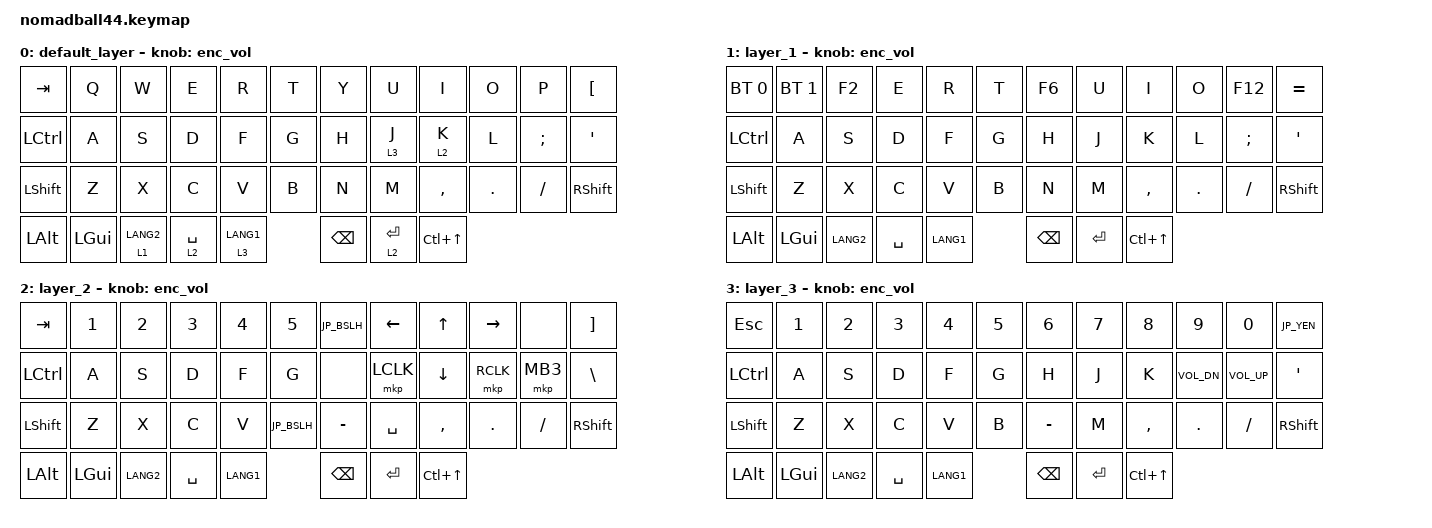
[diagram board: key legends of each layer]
// This file was generated from a template. Edit it to match your keyboard.
// See https://zmk.dev/docs/development/hardware-integration/new-shield for more instructions.

#define ZMK_POINTING_DEFAULT_SCRL_VAL 150

// OS設定を日本語キーボードのまま使用するための変換定義

#define JP_DQUOTE       AT                // "
#define JP_AMPERSAND    CARET             // &
#define JP_QUOTE        AMPERSAND         // '
#define JP_EQUAL        UNDER             // =
#define JP_CARET        EQUAL             // ^
#define JP_YEN          0x89              // ¥
#define JP_PLUS         COLON             // +
#define JP_TILDE        PLUS              // ~
#define JP_PIPE         LS(0x89)          // |
#define JP_AT           LEFT_BRACKET      // @
#define JP_COLON        SINGLE_QUOTE      // :
#define JP_ASTERISK     DOUBLE_QUOTES     // *
#define JP_BACKQUOTE    LEFT_BRACE        // `
#define JP_BSLH         INT1              // (backslash)

/* Mac 日本語キーボード: LS(INT1) は Shift+マイナス扱いになりやすい。ろは修飾なし INT1 */

#define JP_UNDER        JP_BSLH           // ろ（INT1、JP_BSLH と同じスキャンコード）
#define JP_LBRACKET     RIGHT_BRACKET     // [
#define JP_RBRACKET     BACKSLASH         // ]
#define JP_LPAREN       ASTERISK          // (
#define JP_RPAREN       LEFT_PARENTHESIS  // )
#define JP_LBRACE       RIGHT_BRACE       // {
#define JP_RBRACE       PIPE              // }
#define JP_KANA         LANGUAGE_1        // かな
#define JP_EISU         LANGUAGE_2        // 英数
#define JP_HANZEN       GRAVE             // 半角/全角

#include <behaviors.dtsi>
#include <dt-bindings/zmk/bt.h>
#include <dt-bindings/zmk/keys.h>
#include <dt-bindings/zmk/pointing.h>

/ {
    behaviors {
        enc_vol: enc_vol {
            compatible = "zmk,behavior-sensor-rotate";
            #sensor-binding-cells = <0>;
            bindings = <&kp C_VOL_DN>, <&kp C_VOL_UP>;
        };

        hold_tap: hold_tap {
            compatible = "zmk,behavior-hold-tap";
            label = "HOLD_TAP";
            bindings = <&mo>, <&kp>;

            #binding-cells = <2>;
            tapping-term-ms = <150>;
            flavor = "balanced";
        };

        hold_tap_for_enter: hold_tap_for_enter {
            compatible = "zmk,behavior-hold-tap";
            label = "HOLD_TAP_FOR_ENTER";
            bindings = <&mo>, <&kp>;

            #binding-cells = <2>;
            tapping-term-ms = <100>;
            hold-trigger-key-positions = <19 7 8 9 20 21 30 6 31 11 23 22 29 37 24 12 4>;
            hold-while-undecided;
        };

        hold_tap_tap_preferred: hold_tap_tap_preferred {
            compatible = "zmk,behavior-hold-tap";
            label = "HOLD_TAP_TAP_PREFERRED";
            bindings = <&mo>, <&kp>;

            #binding-cells = <2>;
            tapping-term-ms = <200>;
            require-prior-idle-ms = <300>;
            flavor = "tap-preferred";
            hold-trigger-key-positions = <19>;
        };
    };

    // Define a default keymap here.
    // See https://zmk.dev/docs/development/hardware-integration/new-shield#default-keymap.

    keymap {
        compatible = "zmk,keymap";

        default_layer {
            bindings = <
&kp TAB         &kp Q     &kp W              &kp E              &kp R              &kp T    &kp Y          &kp U                        &kp I                        &kp O       &kp P      &kp JP_AT
&kp LCTRL       &kp A     &kp S              &kp D              &kp F              &kp G    &kp H          &hold_tap 3 J                &hold_tap_tap_preferred 2 K  &kp L       &kp SEMI   &kp JP_COLON
&kp LEFT_SHIFT  &kp Z     &kp X              &kp C              &kp V              &kp B    &kp N          &kp M                        &kp COMMA                    &kp PERIOD  &kp SLASH  &kp RIGHT_SHIFT
&kp LEFT_ALT    &kp LGUI  &hold_tap 1 LANG2  &hold_tap 2 SPACE  &hold_tap 3 LANG1           &kp BACKSPACE  &hold_tap_for_enter 2 ENTER  &kp LC(UP_ARROW)
            >;

            sensor-bindings = <&enc_vol>;
        };

        layer_1 {
            bindings = <
&bt BT_SEL 0    &bt BT_SEL 1  &kp F2     &kp E      &kp R      &kp T    &kp F6         &kp U      &kp I             &kp O       &kp F12    &kp JP_CARET
&kp LCTRL       &kp A         &kp S      &kp D      &kp F      &kp G    &kp H          &kp J      &kp K             &kp L       &kp SEMI   &kp JP_COLON
&kp LEFT_SHIFT  &kp Z         &kp X      &kp C      &kp V      &kp B    &kp N          &kp M      &kp COMMA         &kp PERIOD  &kp SLASH  &kp RIGHT_SHIFT
&kp LEFT_ALT    &kp LGUI      &kp LANG2  &kp SPACE  &kp LANG1           &kp BACKSPACE  &kp ENTER  &kp LC(UP_ARROW)
            >;

            sensor-bindings = <&enc_vol>;
        };

        layer_2 {
            bindings = <
&kp TAB         &kp N1    &kp N2     &kp N3     &kp N4     &kp N5          &kp JP_UNDER   &kp LEFT   &kp UP_ARROW      &kp RIGHT   &none      &kp JP_LBRACKET
&kp LCTRL       &kp A     &kp S      &kp D      &kp F      &kp G           &none          &mkp LCLK  &kp DOWN_ARROW    &mkp RCLK   &mkp MB3   &kp JP_RBRACKET
&kp LEFT_SHIFT  &kp Z     &kp X      &kp C      &kp V      &kp JP_UNDER    &kp MINUS      &kp SPACE  &kp COMMA         &kp PERIOD  &kp SLASH  &kp RIGHT_SHIFT
&kp LEFT_ALT    &kp LGUI  &kp LANG2  &kp SPACE  &kp LANG1                  &kp BACKSPACE  &kp ENTER  &kp LC(UP_ARROW)
            >;

            sensor-bindings = <&enc_vol>;
        };

        layer_3 {
            bindings = <
&kp ESC         &kp N1    &kp N2     &kp N3     &kp N4     &kp N5    &kp N6         &kp N7     &kp N8            &kp N9        &kp N0        &kp JP_YEN
&kp LCTRL       &kp A     &kp S      &kp D      &kp F      &kp G     &kp H          &kp J      &kp K             &kp C_VOL_DN  &kp C_VOL_UP  &kp JP_COLON
&kp LEFT_SHIFT  &kp Z     &kp X      &kp C      &kp V      &kp B     &kp MINUS      &kp M      &kp COMMA         &kp PERIOD    &kp SLASH     &kp RIGHT_SHIFT
&kp LEFT_ALT    &kp LGUI  &kp LANG2  &kp SPACE  &kp LANG1            &kp BACKSPACE  &kp ENTER  &kp LC(UP_ARROW)
            >;

            sensor-bindings = <&enc_vol>;
        };
    };
};
